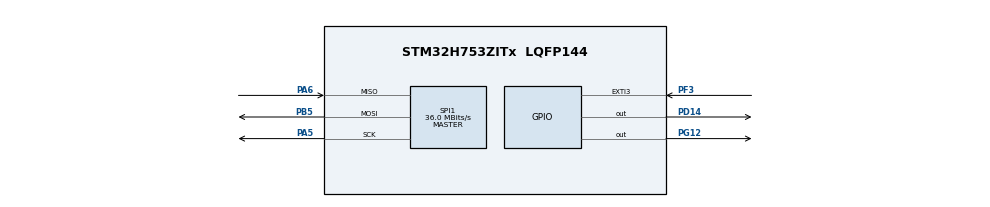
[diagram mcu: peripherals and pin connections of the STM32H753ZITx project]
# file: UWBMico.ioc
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CORTEX_M7.CPU_DCache=Disabled
CORTEX_M7.CPU_ICache=Disabled
CORTEX_M7.MPU_Control=MPU_PRIVILEGED_DEFAULT
CORTEX_M7.default_mode_Activation=1
Mcu.Family=STM32H7
Mcu.Name=STM32H753ZITx
Mcu.Package=LQFP144
NVIC.EXTI3_IRQn=true\:0\:0\:false\:false\:true\:true\:true\:true
NVIC.PriorityGroup=NVIC_PRIORITYGROUP_4
PA13\ (JTMS/SWDIO).Mode=Serial_Wire
PA13\ (JTMS/SWDIO).Signal=DEBUG_JTMS-SWDIO
PA14\ (JTCK/SWCLK).Mode=Serial_Wire
PA14\ (JTCK/SWCLK).Signal=DEBUG_JTCK-SWCLK
PA5.GPIO_Speed=GPIO_SPEED_FREQ_VERY_HIGH
PA5.Mode=Full_Duplex_Master
PA5.Signal=SPI1_SCK
PA6.GPIO_Speed=GPIO_SPEED_FREQ_VERY_HIGH
PA6.Mode=Full_Duplex_Master
PA6.Signal=SPI1_MISO
PB5.GPIO_Speed=GPIO_SPEED_FREQ_VERY_HIGH
PB5.Mode=Full_Duplex_Master
PB5.Signal=SPI1_MOSI
PD14.GPIO_Speed=GPIO_SPEED_FREQ_VERY_HIGH
PD14.PinState=GPIO_PIN_SET
PD14.Signal=GPIO_Output
PF3.GPIO_PuPd=GPIO_PULLDOWN
PF3.Signal=GPXTI3
PG12.GPIO_ModeDefaultOutputPP=GPIO_MODE_OUTPUT_OD
PG12.GPIO_PuPd=GPIO_NOPULL
PG12.GPIO_Speed=GPIO_SPEED_FREQ_VERY_HIGH
PG12.PinState=GPIO_PIN_SET
PG12.Signal=GPIO_Output
ProjectManager.HeapSize=0x200
ProjectManager.StackSize=0x400
ProjectManager.TargetToolchain=CMake
RCC.ADCFreq_Value=144000000
RCC.APB1Freq_Value=120000000
RCC.APB2Freq_Value=120000000
RCC.APB3Freq_Value=120000000
RCC.APB4Freq_Value=120000000
RCC.CortexFreq_Value=480000000
RCC.D1PPRE=RCC_APB3_DIV2
RCC.D2PPRE1=RCC_APB1_DIV2
RCC.D2PPRE2=RCC_APB2_DIV2
RCC.D3PPRE=RCC_APB4_DIV2
RCC.DIVM1=4
RCC.DIVN1=60
RCC.DIVN2=144
RCC.HCLKFreq_Value=240000000
RCC.HPRE=RCC_HCLK_DIV2
RCC.HSE_VALUE=8000000
RCC.PLL2FRACN=0
RCC.PLL3FRACN=0
RCC.PLLFRACN=0
RCC.PWR_Regulator_Voltage_Scale=PWR_REGULATOR_VOLTAGE_SCALE0
RCC.SPI123CLockSelection=RCC_SPI123CLKSOURCE_PLL2
RCC.SYSCLKFreq_VALUE=480000000
RCC.SYSCLKSource=RCC_SYSCLKSOURCE_PLLCLK
RCC.USBFreq_Value=480000000
SPI1.BaudRatePrescaler=SPI_BAUDRATEPRESCALER_4
SPI1.CalculateBaudRate=36.0 MBits/s
SPI1.DataSize=SPI_DATASIZE_8BIT
SPI1.Direction=SPI_DIRECTION_2LINES
SPI1.Mode=SPI_MODE_MASTER
SPI1.VirtualType=VM_MASTER
TIM1.AutoReloadPreload=TIM_AUTORELOAD_PRELOAD_ENABLE
TIM1.Prescaler=239
VP_MEMORYMAP_VS_MEMORYMAP.Mode=CurAppReg
VP_TIM1_VS_ClockSourceINT.Mode=Internal
board=NUCLEO-H753ZI

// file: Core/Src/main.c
/* USER CODE BEGIN Header */
/**
 ******************************************************************************
 * @file           : main.c
 * @brief          : Main program body
 ******************************************************************************
 * @attention
 *
 * Copyright (c) 2026 STMicroelectronics.
 * All rights reserved.
 *
 * This software is licensed under terms that can be found in the LICENSE file
 * in the root directory of this software component.
 * If no LICENSE file comes with this software, it is provided AS-IS.
 *
 ******************************************************************************
 */
/* USER CODE END Header */
#include "main.h"

/* USER CODE BEGIN Includes */
#include "examples_defines.h"
#include "port.h"
#include "deca_probe_interface.h"
#include <deca_device_api.h>
#include <deca_spi.h>
#include <example_selection.h>
#include <port.h>

/* USER CODE END Includes */

/* USER CODE BEGIN PV */
static uint8_t tag = 1; //1 = tag, 0 = anchor
static uint8_t timestamp[5];
static uint8_t rx_timestamp[5];
static uint8_t rx_timestamp2[5];
static uint64_t delay = 0;
static double distance = 0;
static uint8_t rx_buffer[128];

dwt_config_t config =
{
    5,                  // Channel 5
    DWT_PLEN_128,       // Preamble length
    DWT_PAC8,           // PAC size
    9,                  // TX preamble code
    9,                  // RX preamble code
    1,                  // Non-standard 8-symbol SFD
    DWT_BR_6M8,         // 6.8 Mbps
    DWT_PHRMODE_STD,    // Standard PHR
    DWT_PHRRATE_STD,    // Standard PHR rate
    129,                // SFD timeout
    DWT_STS_MODE_OFF,   // STS disabled
    DWT_STS_LEN_64,     // STS length (unused)
    DWT_PDOA_M0         // PDOA disabled
};

dwt_txconfig_t txconfig_options = {
    0x34,       /* PG delay. */
    0xfdfdfdfd, /* TX power. */
    0x0         /*PG count*/
};
/* USER CODE END PV */

void SystemClock_Config(void);
void PeriphCommonClock_Config(void);
static void MPU_Config(void);
static void MX_GPIO_Init(void);
static void MX_SPI1_Init(void);
static void MX_TIM1_Init(void);
/* USER CODE BEGIN PFP */
void send_ranging(void);
void receive_ranging(void);
void waitforsysstatus(uint32_t *lo_result, uint32_t *hi_result, uint32_t lo_mask, uint32_t hi_mask);
uint64_t timestamp_to_64bit(uint8_t *timestamp);
/* USER CODE END PFP */

int main(void)
{

  /* MPU Configuration--------------------------------------------------------*/
  MPU_Config();

  /* MCU Configuration--------------------------------------------------------*/

  /* Reset of all peripherals, Initializes the Flash interface and the Systick. */
  LL_APB4_GRP1_EnableClock(LL_APB4_GRP1_PERIPH_SYSCFG);

  /* System interrupt init*/
  NVIC_SetPriorityGrouping(NVIC_PRIORITYGROUP_4);

  /* USER CODE BEGIN Init */
  //build_examples();

  /* USER CODE END Init */

  /* Configure the system clock */
  SystemClock_Config();

  /* Configure the peripherals common clocks */
  PeriphCommonClock_Config();

  /* Initialize all configured peripherals */
  MX_GPIO_Init();
  MX_SPI1_Init();
  MX_TIM1_Init();
  /* USER CODE BEGIN 2 */
  LL_SPI_Enable(SPI1);
  LL_TIM_EnableCounter(TIM1);
  LL_SPI_StartMasterTransfer(SPI1); // KI sagt dass der besser in der write und read funktion gestartet wird.

  if (dwt_initialise(DWT_DW_INIT) == DWT_ERROR)
{
    Error_Handler();
}
  if (dwt_configure(&config) == DWT_ERROR)
{
    Error_Handler();
}
  dwt_configuretxrf(&txconfig_options);
  dwt_setrxaftertxdelay(0);
  dwt_setrxtimeout(3000);
  //example_pointer();

  /* USER CODE END 2 */

  /* Infinite loop */
  /* USER CODE BEGIN WHILE */
  while (1)
  {

    if(tag==1){
      send_ranging();
    }
    else{
      receive_ranging();
    }

    /* USER CODE END WHILE */

  }
}

void SystemClock_Config(void)
{
  LL_FLASH_SetLatency(LL_FLASH_LATENCY_4);
  while (LL_FLASH_GetLatency() != LL_FLASH_LATENCY_4)
  {
  }
  LL_PWR_ConfigSupply(LL_PWR_LDO_SUPPLY);
  LL_PWR_SetRegulVoltageScaling(LL_PWR_REGU_VOLTAGE_SCALE0);
  while (LL_PWR_IsActiveFlag_VOS() == 0)
  {
  }
  LL_RCC_HSI_Enable();

  /* Wait till HSI is ready */
  while (LL_RCC_HSI_IsReady() != 1)
  {
  }
  LL_RCC_HSI_SetCalibTrimming(64);
  LL_RCC_HSI_SetDivider(LL_RCC_HSI_DIV1);
  LL_RCC_PLL_SetSource(LL_RCC_PLLSOURCE_HSI);
  LL_RCC_PLL1P_Enable();
  LL_RCC_PLL1R_Enable();
  LL_RCC_PLL1_SetVCOInputRange(LL_RCC_PLLINPUTRANGE_8_16);
  LL_RCC_PLL1_SetVCOOutputRange(LL_RCC_PLLVCORANGE_WIDE);
  LL_RCC_PLL1_SetM(4);
  LL_RCC_PLL1_SetN(60);
  LL_RCC_PLL1_SetP(2);
  LL_RCC_PLL1_SetQ(2);
  LL_RCC_PLL1_SetR(2);
  LL_RCC_PLL1_Enable();

  /* Wait till PLL is ready */
  while (LL_RCC_PLL1_IsReady() != 1)
  {
  }

  /* Intermediate AHB prescaler 2 when target frequency clock is higher than 80 MHz */
  LL_RCC_SetAHBPrescaler(LL_RCC_AHB_DIV_2);

  LL_RCC_SetSysClkSource(LL_RCC_SYS_CLKSOURCE_PLL1);

  /* Wait till System clock is ready */
  while (LL_RCC_GetSysClkSource() != LL_RCC_SYS_CLKSOURCE_STATUS_PLL1)
  {
  }
  LL_RCC_SetSysPrescaler(LL_RCC_SYSCLK_DIV_1);
  LL_RCC_SetAHBPrescaler(LL_RCC_AHB_DIV_2);
  LL_RCC_SetAPB1Prescaler(LL_RCC_APB1_DIV_2);
  LL_RCC_SetAPB2Prescaler(LL_RCC_APB2_DIV_2);
  LL_RCC_SetAPB3Prescaler(LL_RCC_APB3_DIV_2);
  LL_RCC_SetAPB4Prescaler(LL_RCC_APB4_DIV_2);

  LL_Init1msTick(480000000);

  LL_SetSystemCoreClock(480000000);
}

void PeriphCommonClock_Config(void)
{
  LL_RCC_PLL2P_Enable();
  LL_RCC_PLL2_SetVCOInputRange(LL_RCC_PLLINPUTRANGE_2_4);
  LL_RCC_PLL2_SetVCOOutputRange(LL_RCC_PLLVCORANGE_WIDE);
  LL_RCC_PLL2_SetM(32);
  LL_RCC_PLL2_SetN(144);
  LL_RCC_PLL2_SetP(2);
  LL_RCC_PLL2_SetQ(2);
  LL_RCC_PLL2_SetR(2);
  LL_RCC_PLL2_Enable();

  /* Wait till PLL is ready */
  while (LL_RCC_PLL2_IsReady() != 1)
  {
  }
}

static void MX_SPI1_Init(void)
{

  LL_SPI_InitTypeDef SPI_InitStruct = {0};

  LL_GPIO_InitTypeDef GPIO_InitStruct = {0};

  LL_RCC_SetSPIClockSource(LL_RCC_SPI123_CLKSOURCE_PLL2P);

  /* Peripheral clock enable */
  LL_APB2_GRP1_EnableClock(LL_APB2_GRP1_PERIPH_SPI1);

  LL_AHB4_GRP1_EnableClock(LL_AHB4_GRP1_PERIPH_GPIOA);
  LL_AHB4_GRP1_EnableClock(LL_AHB4_GRP1_PERIPH_GPIOB);
  /**SPI1 GPIO Configuration
  PA5   ------> SPI1_SCK
  PA6   ------> SPI1_MISO
  PB5   ------> SPI1_MOSI
  */
  GPIO_InitStruct.Pin = LL_GPIO_PIN_5 | LL_GPIO_PIN_6;
  GPIO_InitStruct.Mode = LL_GPIO_MODE_ALTERNATE;
  GPIO_InitStruct.Speed = LL_GPIO_SPEED_FREQ_VERY_HIGH;
  GPIO_InitStruct.OutputType = LL_GPIO_OUTPUT_PUSHPULL;
  GPIO_InitStruct.Pull = LL_GPIO_PULL_NO;
  GPIO_InitStruct.Alternate = LL_GPIO_AF_5;
  LL_GPIO_Init(GPIOA, &GPIO_InitStruct);

  GPIO_InitStruct.Pin = LL_GPIO_PIN_5;
  GPIO_InitStruct.Mode = LL_GPIO_MODE_ALTERNATE;
  GPIO_InitStruct.Speed = LL_GPIO_SPEED_FREQ_VERY_HIGH;
  GPIO_InitStruct.OutputType = LL_GPIO_OUTPUT_PUSHPULL;
  GPIO_InitStruct.Pull = LL_GPIO_PULL_NO;
  GPIO_InitStruct.Alternate = LL_GPIO_AF_5;
  LL_GPIO_Init(GPIOB, &GPIO_InitStruct);

  /* SPI1 parameter configuration*/
  SPI_InitStruct.TransferDirection = LL_SPI_FULL_DUPLEX;
  SPI_InitStruct.Mode = LL_SPI_MODE_MASTER;
  SPI_InitStruct.DataWidth = LL_SPI_DATAWIDTH_8BIT;
  SPI_InitStruct.ClockPolarity = LL_SPI_POLARITY_LOW;
  SPI_InitStruct.ClockPhase = LL_SPI_PHASE_1EDGE;
  SPI_InitStruct.NSS = LL_SPI_NSS_SOFT;
  SPI_InitStruct.BaudRate = LL_SPI_BAUDRATEPRESCALER_DIV4;
  SPI_InitStruct.BitOrder = LL_SPI_MSB_FIRST;
  SPI_InitStruct.CRCCalculation = LL_SPI_CRCCALCULATION_DISABLE;
  SPI_InitStruct.CRCPoly = 0x0;
  LL_SPI_Init(SPI1, &SPI_InitStruct);
  LL_SPI_SetStandard(SPI1, LL_SPI_PROTOCOL_MOTOROLA);
  LL_SPI_SetFIFOThreshold(SPI1, LL_SPI_FIFO_TH_01DATA);
  LL_SPI_EnableNSSPulseMgt(SPI1);
}

static void MX_TIM1_Init(void)
{

  LL_TIM_InitTypeDef TIM_InitStruct = {0};

  /* Peripheral clock enable */
  LL_APB2_GRP1_EnableClock(LL_APB2_GRP1_PERIPH_TIM1);

  TIM_InitStruct.Prescaler = 239;
  TIM_InitStruct.CounterMode = LL_TIM_COUNTERMODE_UP;
  TIM_InitStruct.Autoreload = 65535;
  TIM_InitStruct.ClockDivision = LL_TIM_CLOCKDIVISION_DIV1;
  TIM_InitStruct.RepetitionCounter = 0;
  LL_TIM_Init(TIM1, &TIM_InitStruct);
  LL_TIM_EnableARRPreload(TIM1);
  LL_TIM_SetClockSource(TIM1, LL_TIM_CLOCKSOURCE_INTERNAL);
  LL_TIM_SetTriggerOutput(TIM1, LL_TIM_TRGO_RESET);
  LL_TIM_SetTriggerOutput2(TIM1, LL_TIM_TRGO2_RESET);
  LL_TIM_DisableMasterSlaveMode(TIM1);
}

static void MX_GPIO_Init(void)
{
  LL_EXTI_InitTypeDef EXTI_InitStruct = {0};
  LL_GPIO_InitTypeDef GPIO_InitStruct = {0};

  /* GPIO Ports Clock Enable */
  LL_AHB4_GRP1_EnableClock(LL_AHB4_GRP1_PERIPH_GPIOF);
  LL_AHB4_GRP1_EnableClock(LL_AHB4_GRP1_PERIPH_GPIOA);
  LL_AHB4_GRP1_EnableClock(LL_AHB4_GRP1_PERIPH_GPIOD);
  LL_AHB4_GRP1_EnableClock(LL_AHB4_GRP1_PERIPH_GPIOG);
  LL_AHB4_GRP1_EnableClock(LL_AHB4_GRP1_PERIPH_GPIOB);

  /**/
  LL_GPIO_SetOutputPin(GPIOD, LL_GPIO_PIN_14);

  /**/
  LL_GPIO_SetOutputPin(GPIOG, LL_GPIO_PIN_12);

  /**/
  LL_SYSCFG_SetEXTISource(LL_SYSCFG_EXTI_PORTF, LL_SYSCFG_EXTI_LINE3);

  /**/
  EXTI_InitStruct.Line_0_31 = LL_EXTI_LINE_3;
  EXTI_InitStruct.Line_32_63 = LL_EXTI_LINE_NONE;
  EXTI_InitStruct.Line_64_95 = LL_EXTI_LINE_NONE;
  EXTI_InitStruct.LineCommand = ENABLE;
  EXTI_InitStruct.Mode = LL_EXTI_MODE_IT;
  EXTI_InitStruct.Trigger = LL_EXTI_TRIGGER_RISING;
  LL_EXTI_Init(&EXTI_InitStruct);

  /**/
  LL_GPIO_SetPinPull(GPIOF, LL_GPIO_PIN_3, LL_GPIO_PULL_DOWN);

  /**/
  LL_GPIO_SetPinMode(GPIOF, LL_GPIO_PIN_3, LL_GPIO_MODE_INPUT);

  /**/
  GPIO_InitStruct.Pin = LL_GPIO_PIN_14;
  GPIO_InitStruct.Mode = LL_GPIO_MODE_OUTPUT;
  GPIO_InitStruct.Speed = LL_GPIO_SPEED_FREQ_VERY_HIGH;
  GPIO_InitStruct.OutputType = LL_GPIO_OUTPUT_PUSHPULL;
  GPIO_InitStruct.Pull = LL_GPIO_PULL_NO;
  LL_GPIO_Init(GPIOD, &GPIO_InitStruct);

  /**/
  GPIO_InitStruct.Pin = LL_GPIO_PIN_12;
  GPIO_InitStruct.Mode = LL_GPIO_MODE_OUTPUT;
  GPIO_InitStruct.Speed = LL_GPIO_SPEED_FREQ_VERY_HIGH;
  GPIO_InitStruct.OutputType = LL_GPIO_OUTPUT_OPENDRAIN;
  GPIO_InitStruct.Pull = LL_GPIO_PULL_NO;
  LL_GPIO_Init(GPIOG, &GPIO_InitStruct);

  /* EXTI interrupt init*/
  NVIC_SetPriority(EXTI3_IRQn, NVIC_EncodePriority(NVIC_GetPriorityGrouping(), 0, 0));
  NVIC_EnableIRQ(EXTI3_IRQn);

}

/* USER CODE BEGIN 4 */
void send_ranging(void){

  uint8_t tx_msg[] = { 0xC5, 0, 'D', 'E', 'C', 'A', 'W', 'A', 'V', 'E', 0x43, 0x02, 0, 0 };
  port_set_dw_ic_spi_fastrate();
  dwt_forcetrxoff();
  dwt_writetxdata(sizeof(tx_msg), tx_msg, 0);
  dwt_writetxfctrl(sizeof(tx_msg), 0, 1);
  dwt_starttx(DWT_START_TX_IMMEDIATE | DWT_RESPONSE_EXPECTED);
  while (!(dwt_readsysstatuslo() & DWT_INT_TXFRS_BIT_MASK))//warte bis Übertragung abgeschlossen ist
  {
  }
  dwt_readtxtimestamp(timestamp);
  dwt_writesysstatuslo(DWT_INT_TXFRS_BIT_MASK);

  waitforsysstatus(NULL, NULL, (DWT_INT_RXFCG_BIT_MASK | SYS_STATUS_ALL_RX_ERR), 0);
  if(dwt_readsysstatuslo() & DWT_INT_RXFCG_BIT_MASK)
  {
    dwt_readrxdata(rx_buffer, dwt_getframelength(0), 0);
    dwt_readrxtimestamp(rx_timestamp,DWT_COMPAT_NONE);
    dwt_writesysstatuslo(DWT_INT_RXFCG_BIT_MASK);
  }
  else //fehlerhaftes Paket empfangen
  {
    dwt_writesysstatuslo(SYS_STATUS_ALL_RX_ERR);
  }

  uint8_t tx_msg2[] = { 0xC5, 0, 'D', 'E', 'C', 'A', 'W', 'A', 'V', 'E', 0,0,0,0,0,0,0,0,0,0,0x43, 0x02, 0, 0 }; //könnte man natürlich kleiner machen
  for(int i = 0; i < 5; i++) //die timestamps in das zu sendende Paket schreiben
  {
    tx_msg2[10 + i] = timestamp[i]; //10 stellen nach DECAWAVE ersten 5 die sendezeit des ersten und danach die empfangszeit des antwortpakets
    tx_msg2[15 + i] = rx_timestamp[i];
  }
  dwt_writetxdata(sizeof(tx_msg2), tx_msg2, 0);
  dwt_writetxfctrl(sizeof(tx_msg2), 0, 1);
  dwt_starttx(DWT_START_TX_IMMEDIATE);

}
void receive_ranging(void){
  uint8_t tag_timestamp[5];
  uint8_t tag_rx_timestamp[5];
  port_set_dw_ic_spi_fastrate();
  dwt_rxenable(DWT_START_RX_IMMEDIATE);
  waitforsysstatus(NULL, NULL, (DWT_INT_RXFCG_BIT_MASK | SYS_STATUS_ALL_RX_ERR), 0);
  if(dwt_readsysstatuslo() & DWT_INT_RXFCG_BIT_MASK)
  {
    dwt_readrxdata(rx_buffer, dwt_getframelength(0), 0);
    dwt_readrxtimestamp(rx_timestamp,DWT_COMPAT_NONE);
    dwt_writesysstatuslo(DWT_INT_RXFCG_BIT_MASK);
  }
  else //fehlerhaftes Paket empfangen
  {
    dwt_writesysstatuslo(SYS_STATUS_ALL_RX_ERR);
  }

  uint8_t tx_msg[] = { 0xC5, 0, 'D', 'E', 'C', 'A', 'W', 'A', 'V', 'E', 0x43, 0x02, 0, 0 };
  dwt_forcetrxoff();
  dwt_writetxdata(sizeof(tx_msg), tx_msg, 0);
  dwt_writetxfctrl(sizeof(tx_msg), 0, 1);
  dwt_starttx(DWT_START_TX_IMMEDIATE | DWT_RESPONSE_EXPECTED);
  while (!(dwt_readsysstatuslo() & DWT_INT_TXFRS_BIT_MASK))//warte bis Übertragung abgeschlossen ist
  {
  }
  dwt_readtxtimestamp(timestamp);
  dwt_writesysstatuslo(DWT_INT_TXFRS_BIT_MASK);

  waitforsysstatus(NULL, NULL, (DWT_INT_RXFCG_BIT_MASK | SYS_STATUS_ALL_RX_ERR), 0); //wait for the response
  if(dwt_readsysstatuslo() & DWT_INT_RXFCG_BIT_MASK) //read response if ok
  {
    dwt_readrxdata(rx_buffer, dwt_getframelength(0), 0);
    dwt_readrxtimestamp(rx_timestamp2,DWT_COMPAT_NONE);
    dwt_writesysstatuslo(DWT_INT_RXFCG_BIT_MASK);

    for(int i = 0; i < 5; i++) //die anderen timestamps aus dem empfangenen Paket auslesen
    {
      tag_timestamp[i] = rx_buffer[10 + i];
      tag_rx_timestamp[i] = rx_buffer[15 + i];
    }
  }
  else //fehlerhaftes Paket empfangen
  {
    dwt_writesysstatuslo(SYS_STATUS_ALL_RX_ERR);
  }
  uint64_t time_of_flight;
  //zeit zwichen empfangen und senden der nachricht
  delay = timestamp_to_64bit(timestamp) - timestamp_to_64bit(rx_timestamp);
  //gesamte zeit zwichen ersten sendung und dem ankommen der antwort minus dem delay im DW selber also nur die flugzeit
  time_of_flight = timestamp_to_64bit(tag_rx_timestamp) - timestamp_to_64bit(tag_timestamp) - delay;
  //flugzeit*lightspeed /2 *conversion from UWB time units to seconds also sollte hier die Distanz in Metern rauskommen
  distance = (double) time_of_flight * 149896229 * (1.0 / (499.2e6 * 128.0));
}

uint64_t timestamp_to_64bit(uint8_t *timestamp) //evtl anders herum wenn die bytes in der falschen reihenfolge sind Little-Endian vs Big-Endian
{
  uint64_t ts = 0;
  for (int i = 0; i < 5; i++)
  {
    ts <<= 8;
    ts |= timestamp[i];
  }
  return ts;
}

void waitforsysstatus(uint32_t *lo_result, uint32_t *hi_result, uint32_t lo_mask, uint32_t hi_mask)
{
    uint32_t lo_result_tmp = 0;
    uint32_t hi_result_tmp = 0;

    // If a mask has been passed into the function for the system status register (lower 32-bits)
    if (lo_mask)
    {
        while (!((lo_result_tmp = dwt_readsysstatuslo()) & (lo_mask)))
        {
            // If a mask value is set for the system status register (higher 32-bits)
            if (hi_mask)
            {
                // If mask value for the system status register (higher 32-bits) is found
                if ((hi_result_tmp = dwt_readsysstatushi()) & hi_mask)
                {
                    break;
                }
            }
        }
    }
    // if only a mask value for the system status register (higher 32-bits) is set
    else if (hi_mask)
    {
        while (!((hi_result_tmp = dwt_readsysstatushi()) & (hi_mask))) { };
    }

    if (lo_result != NULL)
    {
        *lo_result = lo_result_tmp;
    }

    if (hi_result != NULL)
    {
        *hi_result = hi_result_tmp;
    }
}

/* USER CODE END 4 */

/* MPU Configuration */

void MPU_Config(void)
{

  /* Disables the MPU */
  LL_MPU_Disable();

  /** Initializes and configures the Region and the memory to be protected
   */
  LL_MPU_ConfigRegion(LL_MPU_REGION_NUMBER0, 0x87, 0x0, LL_MPU_REGION_SIZE_4GB | LL_MPU_TEX_LEVEL0 | LL_MPU_REGION_NO_ACCESS | LL_MPU_INSTRUCTION_ACCESS_DISABLE | LL_MPU_ACCESS_SHAREABLE | LL_MPU_ACCESS_NOT_CACHEABLE | LL_MPU_ACCESS_NOT_BUFFERABLE);
  /* Enables the MPU */
  LL_MPU_Enable(LL_MPU_CTRL_PRIVILEGED_DEFAULT);
}

void Error_Handler(void)
{
  __disable_irq();
  while (1)
  {
  }
}
